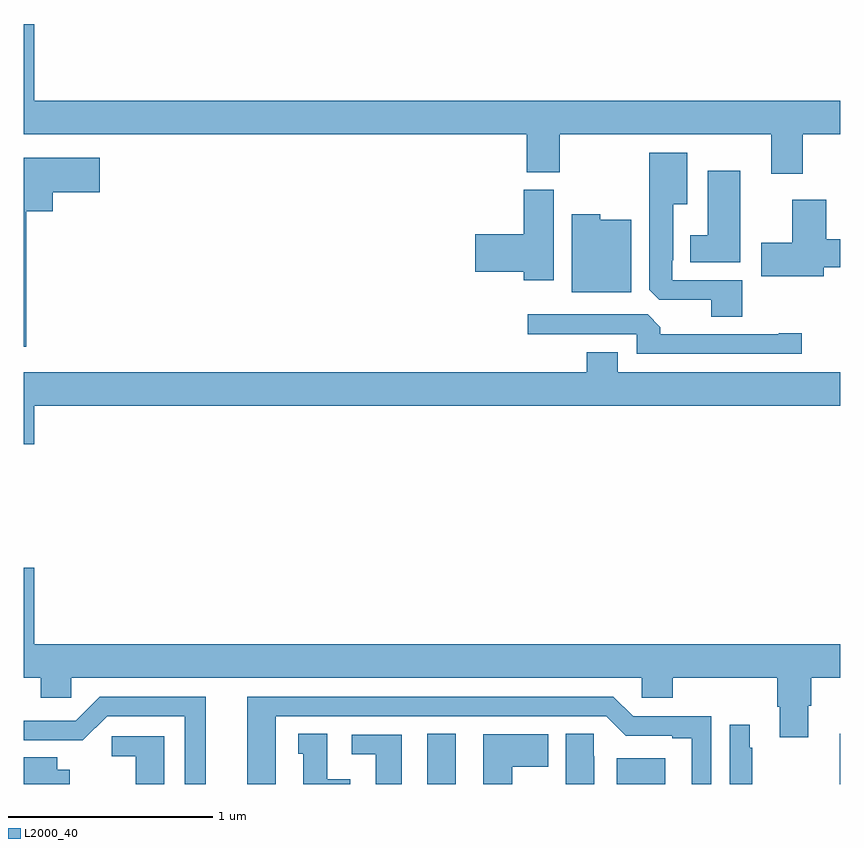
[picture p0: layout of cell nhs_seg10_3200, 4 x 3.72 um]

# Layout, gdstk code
import gdstk
lib = gdstk.Library(unit=1e-6, precision=1e-09)
def R(c, l, rs):  # rectangles x0, y0, x1, y1
    for r in rs: c.add(gdstk.rectangle(r[:2], r[2:], *l))
def P(c, l, *ps):  # polygons
    for p in ps: c.add(gdstk.Polygon(p, *l))
L2000_40 = (2000, 40)

nhs_seg10_3200 = lib.new_cell('nhs_seg10_3200')
R(nhs_seg10_3200, L2000_40, [(286.976,1262.5,287.116,1262.747), (287.906,1262.5,288.142,1262.626), (288.997,1262.5,289,1262.746)])
P(nhs_seg10_3200, L2000_40, [(288.815,1265.684),(289,1265.684),(289,1265.848),(285.052,1265.848),(285.052,1266.223),(285,1266.223),(285,1265.684),(287.465,1265.684),(287.465,1265.497),(287.625,1265.497),(287.625,1265.684),(288.662,1265.684),(288.662,1265.49),(288.815,1265.49)],
  [(288.521,1264.968),(288.177,1264.968),(288.177,1265.065),(288.181,1265.065),(288.181,1265.339),(288.25,1265.339),(288.25,1265.593),(288.065,1265.593),(288.065,1264.921),(288.114,1264.872),(288.368,1264.872),(288.368,1264.789),(288.521,1264.789)],
  [(285.013,1265.306),(285.142,1265.306),(285.142,1265.399),(285.373,1265.399),(285.373,1265.569),(285,1265.569),(285,1264.641),(285.013,1264.641)],
  [(288.511,1265.503),(288.35,1265.503),(288.35,1265.188),(288.266,1265.188),(288.266,1265.057),(288.511,1265.057)],
  [(287.596,1265.412),(287.45,1265.412),(287.45,1265.192),(287.211,1265.192),(287.211,1265.009),(287.45,1265.009),(287.45,1264.968),(287.596,1264.968)],
  [(288.919,1265.032),(289,1265.032),(289,1265.168),(288.932,1265.168),(288.932,1265.362),(288.764,1265.362),(288.764,1265.151),(288.612,1265.151),(288.612,1264.988),(288.919,1264.988)],
  [(287.977,1265.263),(287.823,1265.263),(287.823,1265.29),(287.684,1265.29),(287.684,1264.91),(287.977,1264.91)],
  [(288.811,1264.709),(288.698,1264.709),(288.698,1264.704),(288.119,1264.704),(288.119,1264.738),(288.057,1264.8),(287.469,1264.8),(287.469,1264.704),(288.003,1264.704),(288.003,1264.608),(288.811,1264.608)],
  [(285.052,1264.352),(289,1264.352),(289,1264.516),(287.911,1264.516),(287.911,1264.615),(287.759,1264.615),(287.759,1264.516),(285,1264.516),(285,1264.164),(285.052,1264.164)],
  [(288.844,1262.883),(288.857,1262.883),(288.857,1263.02),(289,1263.02),(289,1263.184),(285.052,1263.184),(285.052,1263.559),(285,1263.559),(285,1263.02),(285.083,1263.02),(285.083,1262.922),(285.234,1262.922),(285.234,1263.02),(288.027,1263.02),(288.027,1262.922),(288.179,1262.922),(288.179,1263.02),(288.692,1263.02),(288.692,1262.878),(288.704,1262.878),(288.704,1262.73),(288.844,1262.73)],
  [(285.892,1262.928),(285.372,1262.928),(285.255,1262.811),(285,1262.811),(285,1262.715),(285.194,1262.715),(285.194,1262.714),(285.29,1262.714),(285.408,1262.832),(285.788,1262.832),(285.788,1262.5),(285.892,1262.5)],
  [(286.234,1262.832),(287.853,1262.832),(287.949,1262.736),(288.176,1262.736),(288.176,1262.724),(288.272,1262.724),(288.272,1262.5),(288.369,1262.5),(288.369,1262.832),(287.985,1262.832),(287.889,1262.928),(286.094,1262.928),(286.094,1262.5),(286.234,1262.5)],
  [(288.568,1262.678),(288.556,1262.678),(288.556,1262.791),(288.459,1262.791),(288.459,1262.5),(288.568,1262.5)],
  [(286.6,1262.524),(286.486,1262.524),(286.486,1262.747),(286.346,1262.747),(286.346,1262.649),(286.37,1262.649),(286.37,1262.5),(286.6,1262.5)],
  [(287.794,1262.636),(287.793,1262.636),(287.793,1262.747),(287.654,1262.747),(287.654,1262.5),(287.794,1262.5)],
  [(287.392,1262.584),(287.569,1262.584),(287.569,1262.743),(287.252,1262.743),(287.252,1262.5),(287.392,1262.5)],
  [(286.852,1262.742),(286.608,1262.742),(286.608,1262.646),(286.724,1262.646),(286.724,1262.5),(286.852,1262.5)],
  [(285.688,1262.733),(285.432,1262.733),(285.432,1262.636),(285.548,1262.636),(285.548,1262.5),(285.688,1262.5)],
  [(285.226,1262.569),(285.163,1262.569),(285.163,1262.63),(285,1262.63),(285,1262.5),(285.226,1262.5)])

lib.write_gds('nhs_seg10_3200.gds')
